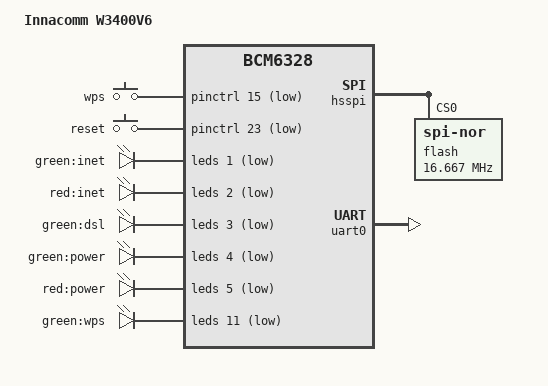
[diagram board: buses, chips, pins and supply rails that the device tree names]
// SPDX-License-Identifier: GPL-2.0-or-later

#include "bcm6328.dtsi"

#include <dt-bindings/input/input.h>

/ {
	model = "Innacomm W3400V6";
	compatible = "innacomm,w3400v6", "brcm,bcm6328";

	aliases {
		led-boot = &led_power_green;
		led-failsafe = &led_power_red;
		led-running = &led_power_green;
		led-upgrade = &led_power_green;
	};

	chosen {
		bootargs = "rootfstype=squashfs,jffs2 noinitrd console=ttyS0,115200";
		stdout-path = "serial0:115200n8";
	};

	keys {
		compatible = "gpio-keys-polled";
		#address-cells = <1>;
		#size-cells = <0>;
		poll-interval = <20>;

		wps {
			label = "wps";
			gpios = <&pinctrl 15 1>;
			linux,code = <KEY_WPS_BUTTON>;
			debounce-interval = <60>;
		};

		reset {
			label = "reset";
			gpios = <&pinctrl 23 1>;
			linux,code = <KEY_RESTART>;
			debounce-interval = <60>;
		};
	};
};

&hsspi {
	status = "okay";

	flash@0 {
		compatible = "jedec,spi-nor";
		spi-max-frequency = <16666667>;
		spi-tx-bus-width = <2>;
		spi-rx-bus-width = <2>;
		reg = <0>;

		#address-cells = <1>;
		#size-cells = <1>;

		partitions {
			compatible = "brcm,bcm963xx-cfe-nor-partitions";
		};
	};
};

&leds {
	status = "okay";

	pinctrl-names = "default";
	pinctrl-0 = <&pinctrl_leds>;

	led@1 {
		reg = <1>;
		active-low;
		label = "green:inet";
	};

	led@2 {
		reg = <2>;
		active-low;
		label = "red:inet";
	};

	led@3 {
		reg = <3>;
		active-low;
		label = "green:dsl";
	};

	led_power_green: led@4 {
		reg = <4>;
		active-low;
		label = "green:power";
		default-state = "on";
	};

	led_power_red: led@5 {
		reg = <5>;
		active-low;
		label = "red:power";
	};

	led@11 {
		reg = <11>;
		active-low;
		label = "green:wps";
	};
};

&pinctrl {
	pinctrl_leds: leds {
		function = "led";
		pins = "gpio1", "gpio2", "gpio3",
		       "gpio4", "gpio5", "gpio11";
	};
};

&uart0 {
	status = "okay";
};
